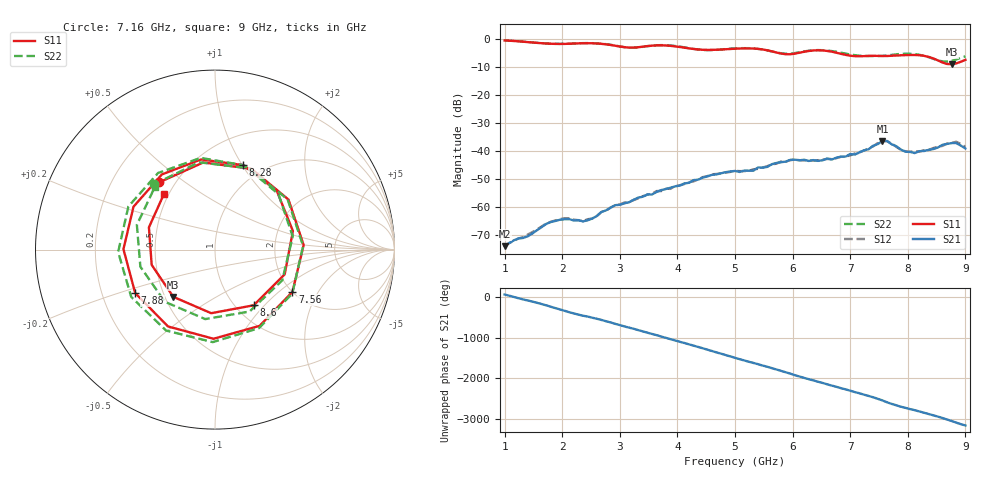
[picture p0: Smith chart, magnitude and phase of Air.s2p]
# Hz S DB R 50
! CMT, C1420, 19038819, 22.4.2/3
! Date: 2023-03-14 09:49:52
! Data: Format (Calibration Info)
! Freq	S11:dB/Ang(F2)	S21:dB/Ang(F2)	S12:dB/Ang(F2)	S22:dB/Ang(F2)
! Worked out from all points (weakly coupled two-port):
!   101 points, 1 GHz to 9 GHz, reference 50 ohm
!   highest |S21| = -36.42 dB at 7.56 GHz (marker M1); lowest = -73.9 dB at 1 GHz (marker M2)
!   lowest |S11| = -9.1 dB at 8.76 GHz (marker M3), VSWR 2.08, Z = 27.6 - j16.6 ohm
!   |S11| at or under -10 dB: nowhere
!   |S22| runs from -8.2 to -0.6 dB; largest |S21 - S12| = 0.0011
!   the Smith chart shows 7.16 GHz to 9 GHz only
!   S11 on the Smith chart (normalised r, x): 7.16 GHz: 0.41, +0.40; 7.56 GHz: 2.00, -1.24; 7.88 GHz: 0.35, -0.23; 8.28 GHz: 0.81, +1.01; 8.6 GHz: 1.20, -0.87; 9 GHz: 0.47, +0.35
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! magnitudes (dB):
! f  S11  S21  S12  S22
! 1 GHz  -0.6  -73.9  -73.9  -0.6
! 1.8 GHz  -1.8  -65.3  -65.2  -1.8
! 2.04 GHz  -1.8  -64.3  -64.0  -1.8
! 2.36 GHz  -1.6  -65.1  -65.0  -1.6
! 2.92 GHz  -2.5  -59.3  -59.4  -2.4
! 3.16 GHz  -3.2  -58.3  -58.2  -3.2
! 3.72 GHz  -2.4  -53.9  -54.3  -2.3
! 4.44 GHz  -3.9  -49.5  -49.3  -4.0
! 5 GHz  -3.6  -47.1  -47.1  -3.4
! 5.32 GHz  -3.5  -47.0  -46.5  -3.5
! 5.88 GHz  -5.5  -43.8  -43.8  -5.3
! 6.36 GHz  -4.2  -43.2  -43.4  -4.1
! 6.68 GHz  -4.6  -43.0  -42.9  -4.4
! 7.16 GHz  -6.2  -40.5  -40.4  -6.1
! 7.56 GHz  -6.2  -36.4  -36.4  -6.1
! 7.72 GHz  -6.1  -37.6  -37.3  -5.8
! 7.88 GHz  -5.9  -39.5  -39.6  -5.4
! 8.12 GHz  -5.8  -40.7  -40.0  -5.5
! 8.28 GHz  -6.1  -40.0  -39.7  -6.1
! 8.6 GHz  -8.5  -37.8  -38.2  -8.1
! 8.76 GHz  -9.1  -37.2  -37.1  -7.9
! 9 GHz  -7.5  -39.1  -38.5  -6.3
